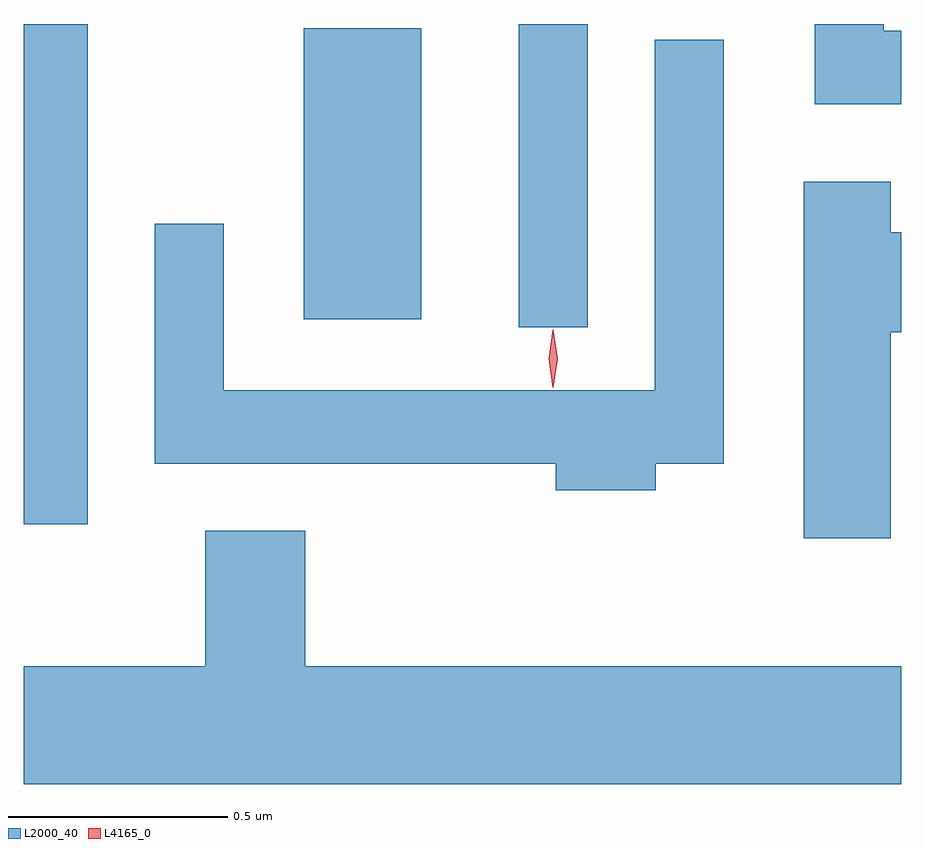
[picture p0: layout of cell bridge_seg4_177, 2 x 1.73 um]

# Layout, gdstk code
import gdstk
lib = gdstk.Library(unit=1e-6, precision=1e-09)
def R(c, l, rs):  # rectangles x0, y0, x1, y1
    for r in rs: c.add(gdstk.rectangle(r[:2], r[2:], *l))
def P(c, l, *ps):  # polygons
    for p in ps: c.add(gdstk.Polygon(p, *l))
L2000_40 = (2000, 40)
L4165_0 = (4165, 0)

bridge_seg4_177 = lib.new_cell('bridge_seg4_177')
R(bridge_seg4_177, L2000_40, [(943.898,1317.528,944.044,1318.669), (945.026,1317.978,945.184,1318.669), (944.536,1317.996,944.804,1318.659)])
P(bridge_seg4_177, L2000_40, [(945.898,1318.654),(945.859,1318.654),(945.859,1318.669),(945.701,1318.669),(945.701,1318.486),(945.898,1318.486)],
  [(945.339,1317.666),(945.494,1317.666),(945.494,1318.633),(945.336,1318.633),(945.336,1317.834),(944.354,1317.834),(944.354,1318.213),(944.196,1318.213),(944.196,1317.666),(945.111,1317.666),(945.111,1317.606),(945.339,1317.606)],
  [(945.874,1317.966),(945.898,1317.966),(945.898,1318.194),(945.874,1318.194),(945.874,1318.309),(945.676,1318.309),(945.676,1317.496),(945.874,1317.496)],
  [(945.898,1317.204),(944.539,1317.204),(944.539,1317.514),(944.311,1317.514),(944.311,1317.204),(943.898,1317.204),(943.898,1316.936),(945.898,1316.936)])
P(bridge_seg4_177, L4165_0, [(945.105,1317.839),(945.104,1317.84),(945.095,1317.906),(945.104,1317.972),(945.105,1317.973),(945.105,1317.972),(945.115,1317.906),(945.105,1317.84)])

lib.write_gds('bridge_seg4_177.gds')
